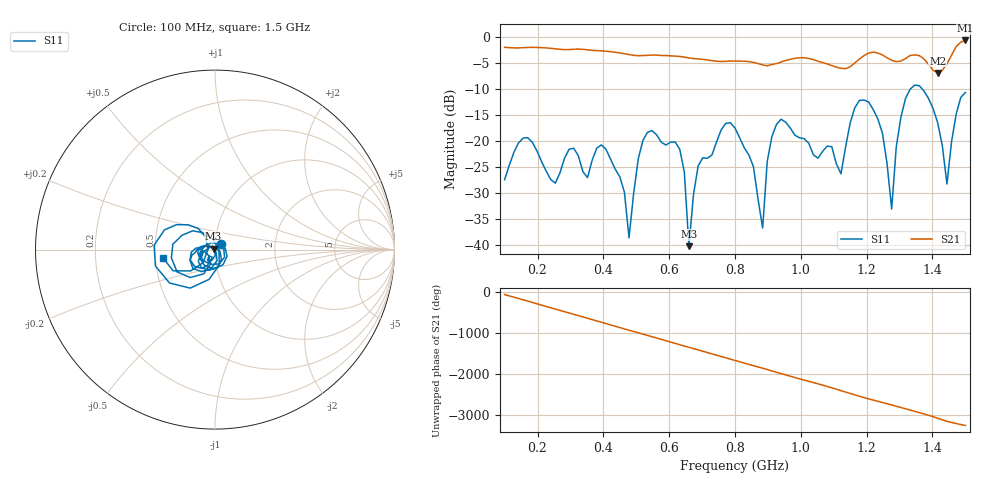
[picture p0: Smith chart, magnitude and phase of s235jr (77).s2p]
! NanoVNA-App
! Date: 2025-09-25 15:04:46
! Start: 100MHz Stop: 1,5GHz Points: 101
! S-Parameter data: F S11 S21 S12 S22
# Hz S RI R 50
!  Frequency  S11_Real  S11_Imag  S21_Real  S21_Imag  S12_Real  S12_Imag  S22_Real  S22_Imag
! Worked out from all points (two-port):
!   101 points, 100 MHz to 1.5 GHz, reference 50 ohm
!   highest |S21| = -0.65 dB at 1.5 GHz (marker M1); lowest = -6.9 dB at 1.416 GHz (marker M2)
!   |S21| within 3 dB of the highest: start of sweep to 613.7 MHz; 1.19 GHz to 1.253 GHz (62.96 MHz wide, 5.15 % of centre) (the widest 2 of 4)
!   lowest |S11| = -40.3 dB at 660 MHz (marker M3), VSWR 1.02, Z = 49.2 + j0.573 ohm
!   |S11| at or under -10 dB: start of sweep to 1.333 GHz; 1.369 GHz to end of sweep
!   S12 and S22 are empty: the file has one direction only
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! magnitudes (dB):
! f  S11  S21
! 100 MHz  -27.5  -2.0
! 156 MHz  -19.5  -2.0
! 338 MHz  -26.0  -2.4
! 408 MHz  -21.6  -2.7
! 478 MHz  -38.7  -3.4
! 520 MHz  -20.0  -3.6
! 576 MHz  -20.3  -3.5
! 632 MHz  -21.6  -3.7
! 660 MHz  -40.3  -4.0
! 688 MHz  -24.9  -4.2
! 800 MHz  -17.5  -4.6
! 884 MHz  -36.8  -5.4
! 926 MHz  -16.8  -5.1
! 1.038 GHz  -22.7  -4.3
! 1.122 GHz  -26.4  -6.0
! 1.206 GHz  -12.5  -3.1
! 1.248 GHz  -18.5  -3.4
! 1.276 GHz  -33.1  -4.5
! 1.332 GHz  -10.1  -3.5
! 1.416 GHz  -16.5  -6.9
! 1.444 GHz  -28.3  -5.2
! 1.5 GHz  -10.7  -0.6
